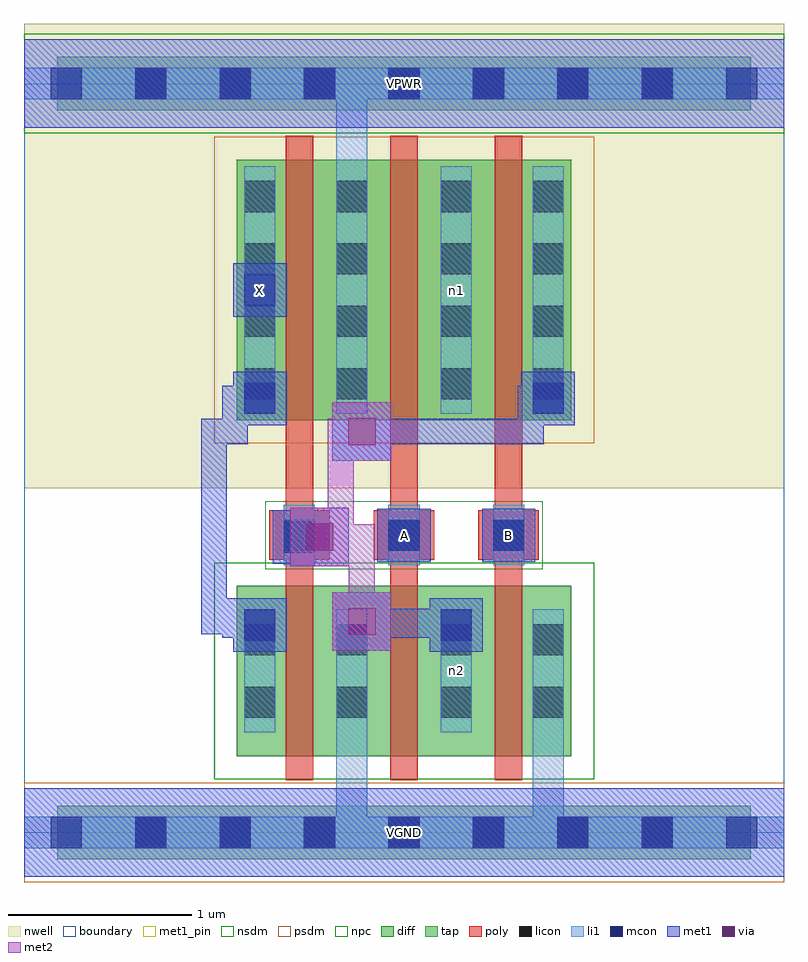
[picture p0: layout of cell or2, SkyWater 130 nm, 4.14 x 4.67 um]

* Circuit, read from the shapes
.subckt or2 A B VGND VPWR X n1 n2
XM1 VGND n2 X VGND sky130_fd_pr__nfet_01v8 w=0.93 l=0.15
XM2 n2 A VGND VGND sky130_fd_pr__nfet_01v8 w=0.93 l=0.15
XM3 VGND B n2 VGND sky130_fd_pr__nfet_01v8 w=0.93 l=0.15
XM4 VPWR n2 X VPWR sky130_fd_pr__pfet_01v8 w=1.42 l=0.15
XM5 n1 A VPWR VPWR sky130_fd_pr__pfet_01v8 w=1.42 l=0.15
XM6 n2 B n1 VPWR sky130_fd_pr__pfet_01v8 w=1.42 l=0.15
.ends

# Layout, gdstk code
import gdstk
lib = gdstk.Library(unit=1e-6, precision=1e-09)
def R(c, l, rs):  # rectangles x0, y0, x1, y1
    for r in rs: c.add(gdstk.rectangle(r[:2], r[2:], *l))
def A(c, l, x, y, w, h, nx, ny, dx, dy):  # array of equal rectangles
    R(c, l, [(x+i*dx, y+j*dy, x+i*dx+w, y+j*dy+h) for i in range(nx) for j in range(ny)])
nwell = (64, 20)
diff = (65, 20)
tap = (65, 44)
poly = (66, 20)
licon = (66, 44)
li1 = (67, 20)
mcon = (67, 44)
met1_pin = (68, 16)
met1 = (68, 20)
via = (68, 44)
met2 = (69, 20)
nsdm = (93, 44)
psdm = (94, 20)
npc = (95, 20)
boundary = (235, 4)

or2 = lib.new_cell('or2')
R(or2, nwell, [(0,1.875,4.14,4.405)])
R(or2, diff, [(1.16,0.415,2.98,1.345), (1.16,2.245,2.98,3.665)])
R(or2, tap, [(0.18,-0.145,3.96,0.145), (0.18,3.935,3.96,4.225)])
A(or2, poly, 1.425, 0.285, 0.15, 3.51, 3, 1, 0.57, 0)
A(or2, poly, 1.335, 1.485, 0.33, 0.27, 3, 1, 0.57, 0)
A(or2, licon, 0.605, -0.085, 0.17, 0.17, 7, 2, 0.46, 4.08)
A(or2, licon, 1.415, 1.535, 0.17, 0.17, 3, 1, 0.57, 0)
A(or2, licon, 1.2, 2.36, 0.17, 0.17, 1, 4, 0, 0.34)
A(or2, licon, 1.7, 2.36, 0.17, 0.17, 1, 4, 0, 0.34)
A(or2, licon, 2.27, 2.36, 0.17, 0.17, 1, 4, 0, 0.34)
A(or2, licon, 2.77, 2.36, 0.17, 0.17, 1, 4, 0, 0.34)
R(or2, licon, [(1.2,0.625,1.37,0.795), (1.7,0.625,1.87,0.795), (2.27,0.625,2.44,0.795), (2.77,0.625,2.94,0.795), (1.2,0.965,1.37,1.135), (1.7,0.965,1.87,1.135), (2.27,0.965,2.44,1.135), (2.77,0.965,2.94,1.135)])
A(or2, li1, 1.415, 1.455, 0.17, 0.33, 3, 1, 0.57, 0)
R(or2, li1, [(0,-0.085,4.14,0.085), (1.7,-0.085,1.87,1.215), (2.77,-0.085,2.94,1.215), (1.2,0.545,1.37,1.215), (1.7,0.545,1.87,1.215), (2.27,0.545,2.44,1.215), (2.77,0.545,2.94,1.215), (1.2,2.28,1.37,3.63), (1.7,2.28,1.87,3.63), (1.7,2.28,1.87,4.165), (2.27,2.28,2.44,3.63), (2.77,2.28,2.94,3.63), (0,3.995,4.14,4.165)])
A(or2, mcon, 0.145, -0.085, 0.17, 0.17, 9, 2, 0.46, 4.08)
R(or2, mcon, [(1.2,1.045,1.37,1.215), (2.27,1.045,2.44,1.215), (1.415,1.525,1.585,1.695), (1.985,1.535,2.155,1.705), (2.555,1.535,2.725,1.705), (1.2,2.28,1.37,2.45), (2.77,2.28,2.94,2.45), (1.2,2.87,1.37,3.04)])
R(or2, met1_pin, [(0,-0.24,4.14,0.24), (1.925,1.475,2.215,1.765), (2.495,1.475,2.785,1.765), (1.14,2.81,1.43,3.1), (0,3.84,4.14,4.32)])
R(or2, met1, [(0,-0.24,4.14,0.24), (1.14,0.985,1.43,1.275), (2.21,0.985,2.5,1.275), (1.68,0.99,2,1.31), (1.08,1.06,1.355,1.2), (1.08,1.06,1.22,1.22), (2,1.06,2.115,1.2), (2,1.06,2.115,1.22), (2.115,1.06,2.255,1.22), (2.115,1.06,2.425,1.2), (0.965,1.08,1.22,1.22), (0.965,1.08,1.105,2.255), (1.105,1.08,1.14,1.275), (1.77,1.08,2.255,1.22), (1.45,1.45,1.77,1.77), (1.355,1.465,1.645,1.755), (1.925,1.475,2.215,1.765), (2.495,1.475,2.785,1.765), (1.43,1.54,1.68,1.68), (1.68,2.025,2,2.345), (0.965,2.115,1.22,2.255), (1.08,2.115,1.22,2.435), (1.77,2.115,2.83,2.255), (2.69,2.115,2.83,2.435), (1.14,2.22,1.43,2.51), (2.71,2.22,3,2.51), (1.08,2.295,1.355,2.435), (2.69,2.295,2.925,2.435), (1.14,2.81,1.43,3.1), (0,3.84,4.14,4.32)])
R(or2, via, [(1.765,1.075,1.915,1.225), (1.535,1.535,1.685,1.685), (1.765,2.11,1.915,2.26)])
R(or2, met2, [(1.68,0.99,2,1.31), (1.77,1.08,1.91,1.68), (1.45,1.45,1.77,1.77), (1.54,1.54,1.91,1.68), (1.655,1.54,1.795,2.255), (1.68,2.025,2,2.345), (1.655,2.115,1.91,2.255)])
R(or2, nsdm, [(1.035,0.29,3.105,1.47), (0,3.81,4.14,4.35)])
R(or2, psdm, [(0,-0.27,4.14,0.27), (1.035,2.12,3.105,3.79)])
R(or2, npc, [(1.315,1.435,2.825,1.805)])
R(or2, boundary, [(0,0,4.14,4.08)])
or2.add(gdstk.Label('n2', (2.355,0.88), layer=67, texttype=5))
or2.add(gdstk.Label('n1', (2.355,2.955), layer=67, texttype=5))
or2.add(gdstk.Label('A', (2.07,1.62), layer=68, texttype=5))
or2.add(gdstk.Label('B', (2.64,1.62), layer=68, texttype=5))
or2.add(gdstk.Label('X', (1.285,2.955), layer=68, texttype=5))
or2.add(gdstk.Label('VPWR', (2.07,4.08), layer=68, texttype=5))
or2.add(gdstk.Label('VGND', (2.07,0), layer=68, texttype=5))
or2.add(gdstk.Label('A', (2.07,1.62), layer=68, texttype=16))
or2.add(gdstk.Label('B', (2.64,1.62), layer=68, texttype=16))
or2.add(gdstk.Label('X', (1.285,2.955), layer=68, texttype=16))
or2.add(gdstk.Label('VPWR', (2.07,4.08), layer=68, texttype=16))
or2.add(gdstk.Label('VGND', (2.07,0), layer=68, texttype=16))

lib.write_gds('or2.gds')
